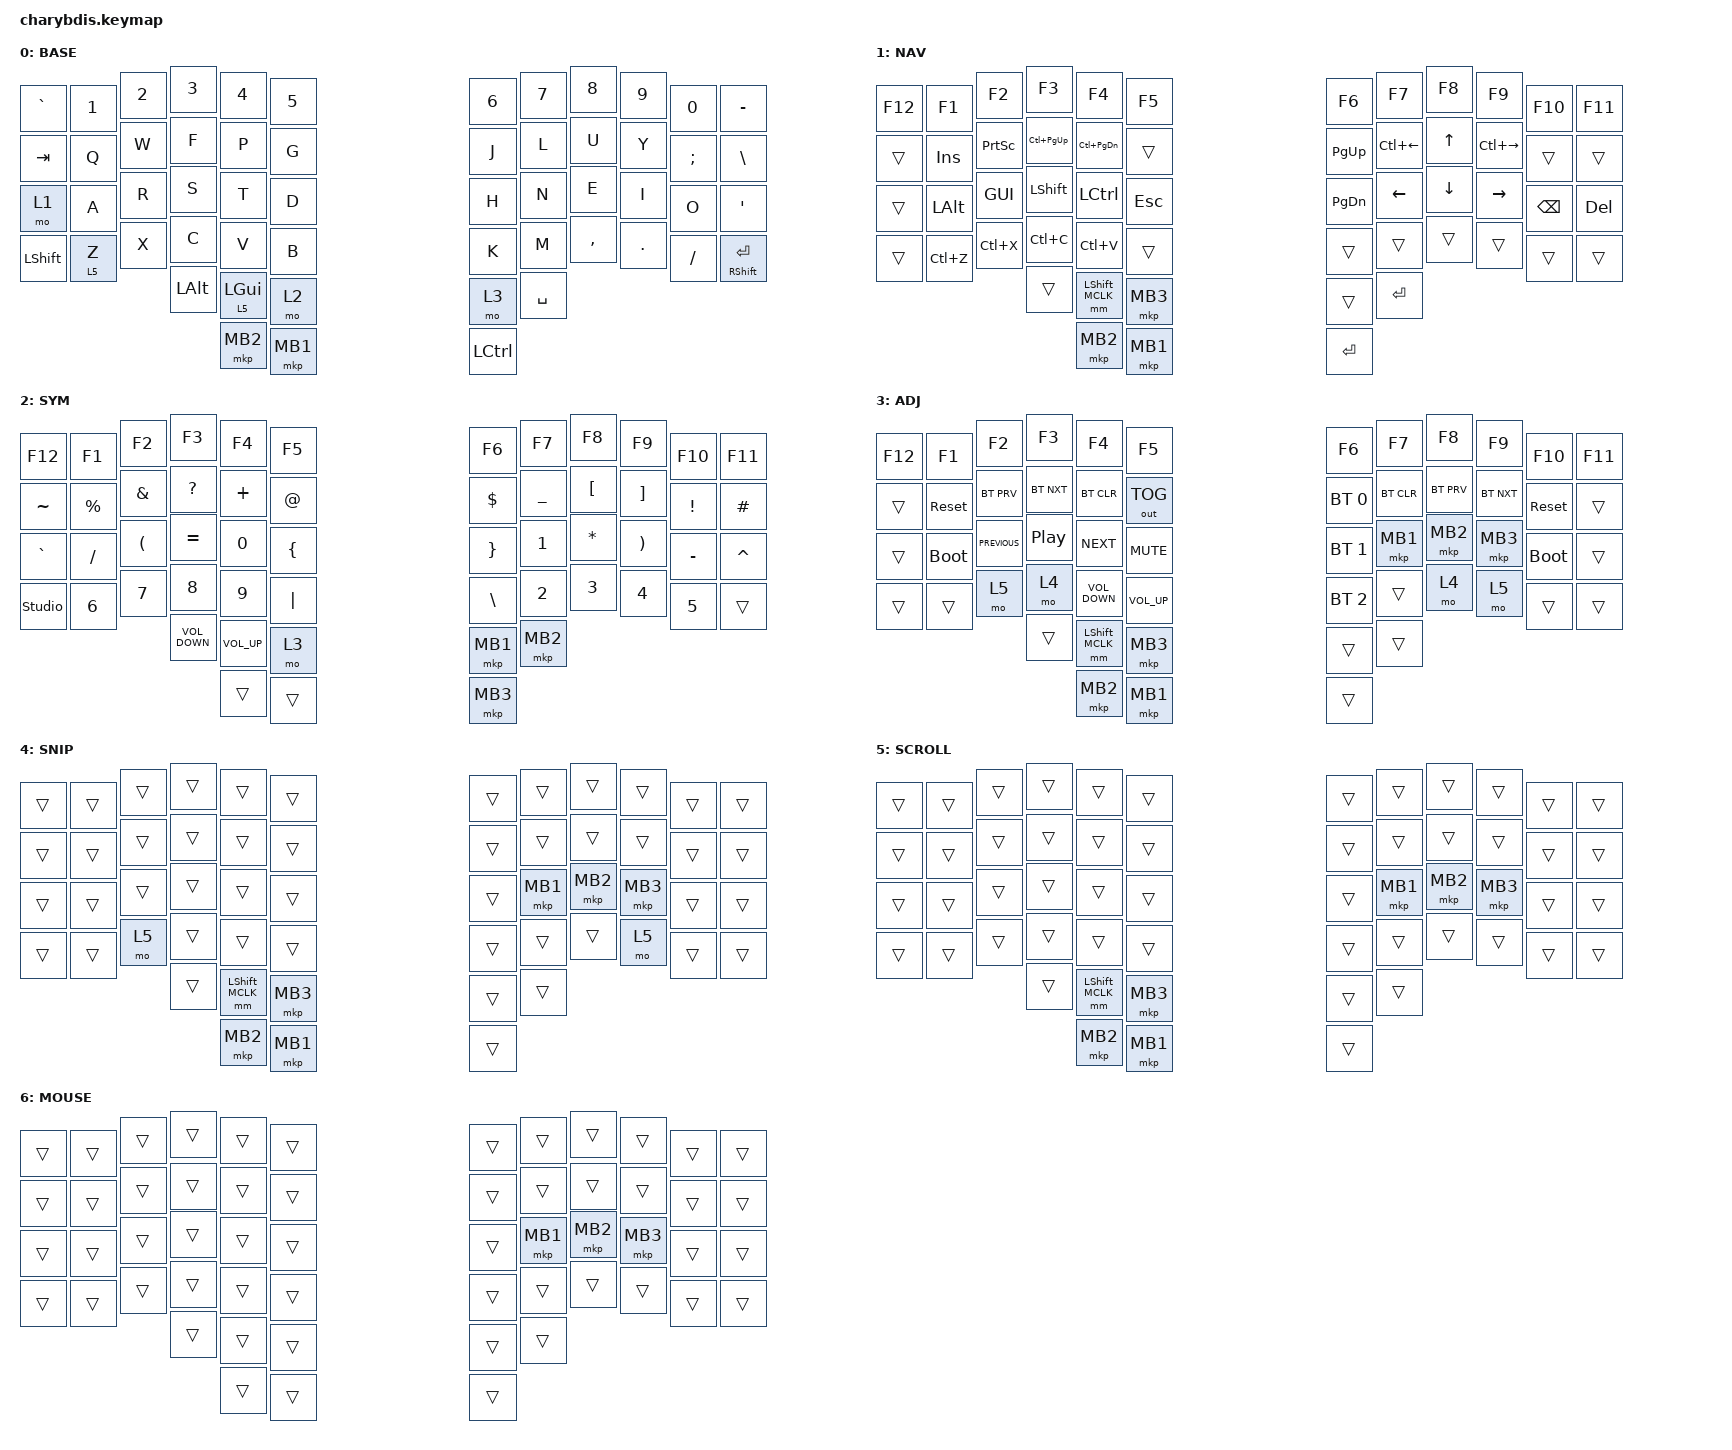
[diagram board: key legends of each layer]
#include <dt-bindings/zmk/mouse.h>
#include <behaviors/mouse_keys.dtsi>
#include <behaviors.dtsi>
#include <dt-bindings/zmk/bt.h>
#include <dt-bindings/zmk/keys.h>
#include <dt-bindings/zmk/outputs.h>
#include <dt-bindings/zmk/pointing.h>

                                                

&mt {
    quick-tap-ms = <200>;
    flavor = "tap-preferred";
    tapping-term-ms = <170>;
};

&lt {
    quick-tap-ms = <200>;
    flavor = "tap-preferred";
    tapping-term-ms = <170>;
};

/ {
    combos {
        compatible = "zmk,combos";

        combo_esc {
            timeout-ms = <50>;
            key-positions = <0 1>;
            bindings = <&kp ESC>;
        };
    };
    mm: mm {
        compatible = "zmk,behavior-macro-two-param";
        wait-ms = <0>;
        tap-ms = <0>;
        #binding-cells = <2>;
        bindings
            = <&macro_param_1to1>
            , <&macro_press &kp MACRO_PLACEHOLDER>
            , <&macro_param_2to1>
            , <&macro_press &mkp MACRO_PLACEHOLDER>
            , <&macro_pause_for_release>
            , <&macro_param_2to1>
            , <&macro_release &mkp MACRO_PLACEHOLDER>
            , <&macro_param_1to1>
            , <&macro_release &kp MACRO_PLACEHOLDER>
            ;
    }; 

    keymap {
        compatible = "zmk,keymap";

        BASE {
            bindings = <
&kp GRAVE   &kp N1       &kp N2         &kp N3      &kp N4        &kp N5   &kp N6            &kp N7        &kp N8      &kp N9           &kp N0          &kp MINUS
&kp TAB     &kp Q        &kp W  &kp F     &kp P     &kp G    &kp J      &kp L      &kp U      &kp Y    &kp SEMI  &kp BSLH
&mo 1       &kp A        &kp R  &kp S     &kp T     &kp D    &kp H      &kp N      &kp E      &kp I    &kp O     &kp SQT
&kp LSHIFT  &lt 5 Z      &kp X  &kp C     &kp V     &kp B    &kp K      &kp M      &kp COMMA  &kp DOT  &kp FSLH  &mt RSHFT RET
            &mo 2        &mkp MB1         &kp LALT    &lt 5 LGUI     &mkp MB2  &kp LCTRL         &kp SPACE                 &mo 3
            >;
        };

        NAV {
            bindings = <
&kp F12          &kp F1          &kp F2           &kp F3         &kp F4         &kp F5        &kp F6                &kp F7  &kp F8  &kp F9  &kp F10          &kp F11
&trans           &kp INS         &kp PSCRN        &kp LC(PG_UP)  &kp LC(PG_DN)  &trans        &kp PG_UP  &kp LC(LEFT_ARROW)  &kp UP    &kp LC(RIGHT_ARROW)  &trans    &trans
&trans           &kp LALT        &kp GUI          &kp LSHFT      &kp LCTRL      &kp ESC       &kp PG_DN  &kp LEFT            &kp DOWN  &kp RIGHT            &kp BSPC  &kp DEL
&trans           &kp LC(Z)       &kp LC(X)        &kp LC(C)      &kp LC(V)      &trans        &trans     &trans              &trans    &trans               &trans    &trans
         &mkp MB3       &mkp MB1          &trans        &mm LSHFT MCLK             &mkp MB2           &kp ENTER               &kp ENTER                  &trans
            >;
        };

        SYM {
            bindings = <
&kp F12  &kp F1         &kp F2     &kp F3             &kp F4            &kp F5         &kp F6                         &kp F7            &kp F8     &kp F9        &kp F10        &kp F11
&kp TILDE  &kp PRCNT  &kp AMPS  &kp QMARK   &kp PLUS    &kp AT      &kp DLLR       &kp UNDER        &kp LBKT      &kp RBKT  &kp EXCL   &kp HASH
&kp GRAVE  &kp FSLH   &kp LPAR  &kp EQUAL   &kp N0      &kp LBRC    &kp RBRC       &kp N1           &kp STAR      &kp RPAR  &kp MINUS  &kp CARET
&studio_unlock    &kp N6     &kp N7    &kp N8      &kp N9      &kp PIPE    &kp BACKSLASH  &kp N2           &kp N3        &kp N4    &kp N5     &trans
         &mo 3          &trans     &kp C_VOLUME_DOWN  &kp C_VOLUME_UP   &trans         &mkp MB3             &mkp MB2             &mkp MB1
            >;
        };

        ADJ {
            bindings = <
&kp F12  &kp F1       &kp F2          &kp F3            &kp F4             &kp F5           &kp F6                &kp F7      &kp F8      &kp F9      &kp F10      &kp F11
&trans   &sys_reset   &bt BT_PRV      &bt BT_NXT        &bt BT_CLR         &out OUT_TOG             &bt BT_SEL 0  &bt BT_CLR  &bt BT_PRV  &bt BT_NXT  &sys_reset   &trans
&trans   &bootloader  &kp C_PREVIOUS  &kp C_PLAY_PAUSE  &kp C_NEXT         &kp C_MUTE               &bt BT_SEL 1  &mkp MB1    &mkp MB2    &mkp MB3    &bootloader  &trans
&trans   &trans       &mo 5           &mo 4             &kp C_VOLUME_DOWN  &kp C_VOLUME_UP          &bt BT_SEL 2  &trans      &mo 4       &mo 5       &trans       &trans
         &mkp MB3       &mkp MB1          &trans        &mm LSHFT MCLK             &mkp MB2           &trans                &trans                  &trans
            >;
        };

        SNIP {
            bindings = <
&trans  &trans  &trans  &trans  &trans  &trans  &trans          &trans    &trans    &trans    &trans  &trans
&trans  &trans  &trans  &trans  &trans  &trans          &trans  &trans    &trans    &trans    &trans  &trans
&trans  &trans  &trans  &trans  &trans  &trans          &trans  &mkp MB1  &mkp MB2  &mkp MB3  &trans  &trans
&trans  &trans  &mo 5   &trans  &trans  &trans          &trans  &trans    &trans    &mo 5     &trans  &trans
         &mkp MB3       &mkp MB1          &trans        &mm LSHFT MCLK             &mkp MB2           &trans                &trans                  &trans
            >;
        };

        SCROLL {
            bindings = <
&trans  &trans  &trans  &trans  &trans  &trans  &trans          &trans    &trans    &trans    &trans  &trans
&trans  &trans  &trans  &trans  &trans  &trans          &trans  &trans    &trans    &trans    &trans  &trans
&trans  &trans  &trans  &trans  &trans  &trans          &trans  &mkp MB1  &mkp MB2  &mkp MB3  &trans  &trans
&trans  &trans  &trans  &trans  &trans  &trans          &trans  &trans    &trans    &trans    &trans  &trans
         &mkp MB3       &mkp MB1          &trans        &mm LSHFT MCLK             &mkp MB2           &trans                &trans                  &trans
            >;
};
        MOUSE {
            bindings = <
&trans  &trans  &trans  &trans  &trans  &trans  &trans          &trans    &trans    &trans    &trans  &trans
&trans  &trans  &trans  &trans  &trans  &trans          &trans  &trans    &trans    &trans    &trans  &trans
&trans  &trans  &trans  &trans  &trans  &trans          &trans  &mkp MB1  &mkp MB2  &mkp MB3  &trans  &trans
&trans  &trans  &trans  &trans  &trans  &trans          &trans  &trans    &trans    &trans    &trans  &trans
        &trans  &trans  &trans  &trans  &trans  &trans          &trans              &trans
            >;
        };
    };
};
